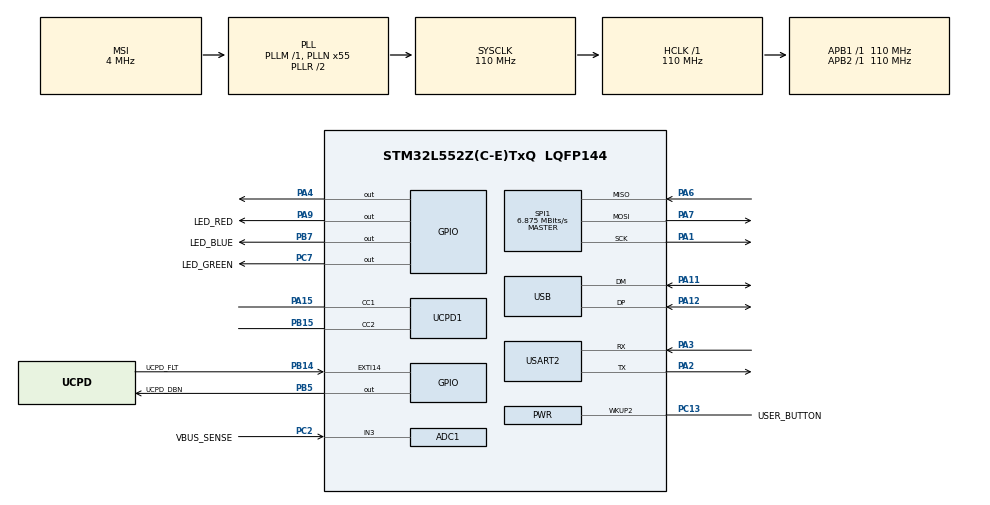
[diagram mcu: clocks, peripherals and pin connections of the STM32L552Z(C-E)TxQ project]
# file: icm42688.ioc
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ADC1.Channel-0\#ChannelRegularConversion=ADC_CHANNEL_3
ADC1.NbrOfConversionFlag=1
ADC1.OffsetNumber-0\#ChannelRegularConversion=ADC_OFFSET_NONE
ADC1.Rank-0\#ChannelRegularConversion=1
ADC1.SamplingTime-0\#ChannelRegularConversion=ADC_SAMPLETIME_2CYCLES_5
ADC1.master=1
Mcu.Family=STM32L5
Mcu.Name=STM32L552Z(C-E)TxQ
Mcu.Package=LQFP144
Mcu.TrustZone=disable
NVIC.PriorityGroup=NVIC_PRIORITYGROUP_3
PA1.Mode=Full_Duplex_Master
PA1.Signal=SPI1_SCK
PA11.Mode=Device
PA11.Signal=USB_DM
PA12.Mode=Device
PA12.Signal=USB_DP
PA13\ (JTMS/SWDIO).Mode=Trace_Asynchronous_SW
PA13\ (JTMS/SWDIO).Signal=DEBUG_JTMS-SWDIO
PA14\ (JTCK/SWCLK).Mode=Trace_Asynchronous_SW
PA14\ (JTCK/SWCLK).Signal=DEBUG_JTCK-SWCLK
PA15\ (JTDI).Mode=Source_AllSignals
PA15\ (JTDI).Signal=UCPD1_CC1
PA2.Mode=Asynchronous
PA2.Signal=USART2_TX
PA3.Mode=Asynchronous
PA3.Signal=USART2_RX
PA4.GPIO_ModeDefaultOutputPP=GPIO_MODE_OUTPUT_PP
PA4.GPIO_PuPd=GPIO_NOPULL
PA4.PinState=GPIO_PIN_SET
PA4.Signal=GPIO_Output
PA6.Mode=Full_Duplex_Master
PA6.Signal=SPI1_MISO
PA7.Mode=Full_Duplex_Master
PA7.Signal=SPI1_MOSI
PA9.GPIO_Label=LED_RED
PA9.Signal=GPIO_Output
PB14.GPIO_Label=UCPD_FLT
PB14.Signal=GPXTI14
PB15.Mode=Source_AllSignals
PB15.Signal=UCPD1_CC2
PB3\ (JTDO/TRACESWO).Mode=Trace_Asynchronous_SW
PB3\ (JTDO/TRACESWO).Signal=DEBUG_JTDO-SWO
PB5.GPIO_Label=UCPD_DBN
PB5.Signal=GPIO_Output
PB7.GPIO_Label=LED_BLUE
PB7.Signal=GPIO_Output
PC13.GPIO_Label=USER_BUTTON
PC13.Mode=WakeUp1
PC13.Signal=PWR_WKUP2
PC14-OSC32_IN\ (PC14).Mode=LSE-External-Oscillator
PC14-OSC32_IN\ (PC14).Signal=RCC_OSC32_IN
PC15-OSC32_OUT\ (PC15).Mode=LSE-External-Oscillator
PC15-OSC32_OUT\ (PC15).Signal=RCC_OSC32_OUT
PC2.GPIO_Label=VBUS_SENSE
PC2.Signal=ADCx_IN3
PC7.GPIO_Label=LED_GREEN
PC7.Signal=GPIO_Output
ProjectManager.HeapSize=0x200
ProjectManager.StackSize=0x400
ProjectManager.TargetToolchain=STM32CubeIDE
RCC.ADCCLockSelection=RCC_ADCCLKSOURCE_SYSCLK
RCC.ADCFreq_Value=110000000
RCC.AHBFreq_Value=110000000
RCC.APB1Freq_Value=110000000
RCC.APB1TimFreq_Value=110000000
RCC.APB2Freq_Value=110000000
RCC.APB2TimFreq_Value=110000000
RCC.CK48CLockSelection=RCC_USBCLKSOURCE_HSI48
RCC.CortexFreq_Value=110000000
RCC.HCLKFreq_Value=110000000
RCC.HSE_VALUE=8000000
RCC.HSI48_VALUE=48000000
RCC.HSI_VALUE=16000000
RCC.MSI_VALUE=4000000
RCC.PLLN=55
RCC.PLLSAI1N=24
RCC.RTCClockSelection=RCC_RTCCLKSOURCE_LSE
RCC.SYSCLKFreq_VALUE=110000000
RCC.SYSCLKSource=RCC_SYSCLKSOURCE_PLLCLK
RCC.USBFreq_Value=48000000
RCC.VCOOutputFreq_Value=220000000
SH.ADCx_IN3.0=ADC1_IN3,IN3-Single-Ended
SPI1.BaudRatePrescaler=SPI_BAUDRATEPRESCALER_16
SPI1.CLKPhase=SPI_PHASE_1EDGE
SPI1.CLKPolarity=SPI_POLARITY_LOW
SPI1.CalculateBaudRate=6.875 MBits/s
SPI1.DataSize=SPI_DATASIZE_8BIT
SPI1.Direction=SPI_DIRECTION_2LINES
SPI1.Mode=SPI_MODE_MASTER
SPI1.VirtualType=VM_MASTER
USART2.VirtualMode-Asynchronous=VM_ASYNC
VP_PWR_VS_DBSignals.Mode=DisableDeadBatterySignals
VP_PWR_VS_SECSignals.Mode=Security/Privilege
VP_RTC_VS_RTC_Activate.Mode=RTC_Enabled
board=NUCLEO-L552ZE-Q

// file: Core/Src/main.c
/* USER CODE BEGIN Header */
/**
  ******************************************************************************
  * @file           : main.c
  * @brief          : Main program body
  ******************************************************************************
  * @attention
  *
  * Copyright (c) 2024 STMicroelectronics.
  * All rights reserved.
  *
  * This software is licensed under terms that can be found in the LICENSE file
  * in the root directory of this software component.
  * If no LICENSE file comes with this software, it is provided AS-IS.
  *
  ******************************************************************************
  */
/* USER CODE END Header */
#include "main.h"
#include "adc.h"
#include "rtc.h"
#include "spi.h"
#include "ucpd.h"
#include "usart.h"
#include "usb.h"
#include "gpio.h"

/* USER CODE BEGIN Includes */
#include <stdio.h>
#include <string.h>
#include <stdbool.h>
#include <math.h>
#include <mahony_ahrs.h>

#define CS_PIN GPIO_PIN_4
#define CS_GPIO_PORT GPIOA
#define UB0_REG_WHO_AM_I 0x75
#define REG_BANK_SEL  0x76
#define UB0_REG_DEVICE_CONFIG  0x11
#define UB0_REG_PWR_MGMT0 0x4E
#define UB0_REG_TEMP_DATA1 0x1D

#define SAMPLE_PERIOD 0.0001

int begin();
int readRegisters(uint8_t subAddress, uint8_t count, uint8_t* dest);
void writeRegister(uint8_t subAddress, uint8_t data);
int setBank(uint8_t bank);
void setLowNoiseMode();
void reset();
uint8_t whoAmI();
void AGT(uint8_t *dataBuffer);
void setAccelFS(uint8_t fssel);

/* USER CODE END Includes */

/* USER CODE BEGIN PTD */
int readRegisters(uint8_t subAddress, uint8_t count, uint8_t* dest){

	uint8_t tx = subAddress | 0x80; //
	uint8_t dummy_tx[count]; //
	memset(dummy_tx, 0, count*sizeof(dummy_tx[0]));
	uint8_t dummy_rx;
	HAL_StatusTypeDef ret;

	HAL_GPIO_WritePin(CS_GPIO_PORT, CS_PIN, GPIO_PIN_RESET);

	ret = HAL_SPI_TransmitReceive(&hspi1, &tx, &dummy_rx, 1, HAL_MAX_DELAY);

	ret = HAL_SPI_TransmitReceive(&hspi1, dummy_tx, dest, count, HAL_MAX_DELAY);

	HAL_GPIO_WritePin(CS_GPIO_PORT, CS_PIN, GPIO_PIN_SET);

	return 1;
}

void writeRegister(uint8_t subAddress, uint8_t data){
	uint8_t tx_buf[2] = {subAddress, data};
	HAL_StatusTypeDef ret;

	HAL_GPIO_WritePin(CS_GPIO_PORT, CS_PIN, GPIO_PIN_RESET);
	ret = HAL_SPI_Transmit(&hspi1, tx_buf, 2, HAL_MAX_DELAY);
	HAL_GPIO_WritePin(CS_GPIO_PORT, CS_PIN, GPIO_PIN_SET);

//	readRegisters(subAddress, 1, &dummy_rx);
//
//	if(dummy_rx == data) {
//		return 1;
//	  }
//	  else{
//		return -1;
//	  }
//
//	return 1;
}

int begin(){
	HAL_GPIO_WritePin(CS_GPIO_PORT, CS_PIN, GPIO_PIN_SET);
	reset();
	uint8_t address = whoAmI();
	setLowNoiseMode();
	setAccelFS(0b01101001);
	configureNotchFilter();
	setAntiAliasFilter(213, true, true);
	calibrateGyro();
	return address;
}

int setBank(uint8_t bank){
	writeRegister(REG_BANK_SEL , bank);
	return 1;
}

void setLowNoiseMode(){
	writeRegister(UB0_REG_PWR_MGMT0, 0x0F);
}

void reset(){
	setBank(0);

	writeRegister(UB0_REG_DEVICE_CONFIG, 0x01);

	HAL_Delay(1);
}

uint8_t whoAmI(){
	uint8_t buffer;
	readRegisters(UB0_REG_WHO_AM_I, 1, &buffer);
	return buffer;
}

void AGT(uint8_t *dataBuffer){
	readRegisters(UB0_REG_TEMP_DATA1, 14, dataBuffer);
}

float _gyroScale = 0;
uint8_t current_fssel = 0;
uint8_t _gyroFS = 0;
float _gyroBD[3] = {0, 0, 0};
float _gyrB[3] = {0, 0, 0};
float _gyr[3] = {0, 0, 0};
uint8_t gyroBuffer[14];
int16_t rawMeasGyro[7];

void setGyroFS(uint8_t fssel){

	setBank(0);
	uint8_t reg;
	readRegisters(0x4F, 1, &reg);
	reg = (fssel << 5) | (reg & 0x1F);
	writeRegister(0x4F, reg);
	_gyroScale = (2000.0f / (float)(1 << fssel)) / 32768.0f;
	_gyroFS = fssel;
}

void calibrateGyro(){
	const uint8_t current_fssel = _gyroFS;
	setGyroFS(0x03);
	_gyroBD[0] = 0;
	_gyroBD[1] = 0;
	_gyroBD[2] = 0;
	for (size_t i=0; i < 1000; i++) {
		AGT(gyroBuffer);
		for (size_t i=0; i<7; i++) {
			rawMeasGyro[i] = ((int16_t)gyroBuffer[i*2] << 8) | gyroBuffer[i*2+1];
		}
		for (size_t i=0; i<3; i++) {
			_gyr[i] = (float)rawMeasGyro[i+4] / 16.4;
		}
		_gyroBD[0] += (_gyr[0] + _gyrB[0]) / 1000;
		_gyroBD[1] += (_gyr[1] + _gyrB[1]) / 1000;
		_gyroBD[2] += (_gyr[2] + _gyrB[2]) / 1000;
		HAL_Delay(1);
	}
	_gyrB[0] = _gyroBD[0];
	_gyrB[1] = _gyroBD[1];
	_gyrB[2] = _gyroBD[2];
	setGyroFS(current_fssel);
}
uint8_t _accelFS = 0;
float _accelScale = 0.0;
float _accBD[3] = {};
uint8_t accelBuffer[14];
float _acc[3] = {};
float _accS[3] = {1.0f, 1.0f, 1.0f};
float _accB[3] = {};
int16_t rawMeasAccel[7];
float _accMax[3] = {};
float _accMin[3] = {};

void setAccelFS(uint8_t fssel){
	setBank(0);
	uint8_t reg;
	readRegisters(0x50, 1, &reg);
	reg = (fssel << 5) | (reg & 0x1F);
	writeRegister(0x50, reg);
	_accelScale = (float)(1 << (4 - fssel)) / 32768.0f;
	_accelFS = fssel;
}

void configureNotchFilter(){
	uint8_t BW_SEL = 7;
	uint32_t f_des = 1300;
	double pi = 3.14159265;
	double COSWZ = cos(2 * pi * f_des / 32);
	int NF_COSWZ = 0;
	bool NF_COSWZ_SEL = 0;
	if(abs(COSWZ) <= 0.875){
		NF_COSWZ_SEL = 0;
		NF_COSWZ = round(COSWZ * 256);
	}else{
		NF_COSWZ_SEL = 1;
		if(COSWZ > 0.875){
			NF_COSWZ = round(8 * (1 - COSWZ) * 256);
		}else{
			NF_COSWZ = round(-8 * (1 + COSWZ) * 256);
		}
	}
	setBank(1);
	writeRegister(0x0F, (uint8_t)(NF_COSWZ & 0xFF));  // Lower byte for X-axis
	writeRegister(0x10, (uint8_t)(NF_COSWZ & 0xFF));  // Lower byte for Y-axis
	writeRegister(0x11, (uint8_t)(NF_COSWZ & 0xFF));  // Lower byte for Z-axis
	writeRegister(0x12, (uint8_t)((NF_COSWZ >> 8) & 0x01));  // Upper bit for all axes

	uint8_t reg_0x12;
	readRegisters(0x12, 1, &reg_0x12);
	// Modify only necessary bits (Bit 3 = X, Bit 4 = Y, Bit 5 = Z)
	reg_0x12 &= ~(0b00111000);  // Clear bits 3, 4, 5
	reg_0x12 |= (NF_COSWZ_SEL << 3) | (NF_COSWZ_SEL << 4) | (NF_COSWZ_SEL << 5);
	writeRegister(0x12, reg_0x12);

	// Set Notch Filter Bandwidth
	writeRegister(0x13, BW_SEL << 4);
//	writeRegister(0x0f, (uint8_t)(NF_COSWZ & 0xff));
//	writeRegister(0x12, NF_COSWZ_SEL << 3);
//
//	writeRegister(0x10, (uint8_t)(NF_COSWZ & 0xff));
//	writeRegister(0x12, NF_COSWZ_SEL << 4);
//
//	writeRegister(0x11, (uint8_t)(NF_COSWZ & 0xff));
//	writeRegister(0x12, NF_COSWZ_SEL << 5);
//
//	writeRegister(0x13, BW_SEL << 4);
//	writeRegister(0x0b, 0x00);

	setBank(0);
}

typedef struct {
    uint16_t bandwidth;   // 3dB Bandwidth (Hz)
    uint8_t delt;         // ACCEL_AAF_DELT / GYRO_AAF_DELT
    uint16_t deltsqr;     // ACCEL_AAF_DELTSQR / GYRO_AAF_DELTSQR
    uint8_t bitshift;     // ACCEL_AAF_BITSHIFT / GYRO_AAF_BITSHIFT
} AAF_Config;

static const AAF_Config aaf_table[] = {
    {42,   1,    1,   15}, {84,   2,    4,   13}, {126,  3,    9,   12},
    {170,  4,   16,   11}, {213,  5,   25,   10}, {258,  6,   36,   10},
    {303,  7,   49,    9}, {348,  8,   64,    9}, {394,  9,   81,    9},
    {441, 10,  100,    8}, {488, 11,  122,    8}, {536, 12,  144,    8},
    {585, 13,  170,    8}, {634, 14,  196,    7}, {684, 15,  224,    7},
    {734, 16,  256,    7}, {785, 17,  288,    7}, {837, 18,  324,    7},
    {890, 19,  360,    6}, {943, 20,  400,    6}, {997, 21,  440,    6},
    {1051,22,  488,    6}, {1107,23,  528,    6}, {1163,24,  576,    6},
    {1220,25,  624,    6}, {1277,26,  680,    6}, {1336,27,  736,    5},
    {1395,28,  784,    5}, {1454,29,  848,    5}, {1515,30,  896,    5},
    {1577,31,  960,    5}, {1639,32, 1024,    5}, {1702,33, 1088,    5},
    {1766,34, 1152,    5}, {1830,35, 1232,    5}, {1896,36, 1296,    5},
    {1962,37, 1376,    4}, {2029,38, 1440,    4}, {2097,39, 1536,    4},
    {2166,40, 1600,    4}, {2235,41, 1696,    4}, {2306,42, 1760,    4},
    {2377,43, 1856,    4}, {2449,44, 1952,    4}, {2522,45, 2016,    4},
    {2596,46, 2112,    4}, {2671,47, 2208,    4}, {2746,48, 2304,    4},
    {2823,49, 2400,    4}, {2900,50, 2496,    4}, {2978,51, 2592,    4},
    {3057,52, 2720,    4}, {3137,53, 2816,    3}, {3217,54, 2944,    3},
    {3299,55, 3008,    3}, {3381,56, 3136,    3}, {3464,57, 3264,    3},
    {3548,58, 3392,    3}, {3633,59, 3456,    3}, {3718,60, 3584,    3},
    {3805,61, 3712,    3}, {3892,62, 3840,    3}, {3979,63, 3968,    3}
};

static const AAF_Config *getAAFConfig(uint16_t bandwidth) {
    const AAF_Config *best = &aaf_table[0];
    for (size_t i = 0; i < sizeof(aaf_table)/sizeof(aaf_table[0]); i++) {
        if (aaf_table[i].bandwidth >= bandwidth) {
            best = &aaf_table[i];
            break;
        }
    }
    return best;
}

void setAntiAliasFilter(uint16_t bandwidth_hz, bool accel_enable, bool gyro_enable) {
    const AAF_Config *cfg = getAAFConfig(bandwidth_hz);

    // accel
    setBank(2);

    uint8_t reg03;
    readRegisters(0x03, 1, &reg03);
    reg03 &= ~0x7E;                         // Clear bits 6:1
    reg03 |= (cfg->delt & 0x3F) << 1;       // ACCEL_AAF_DELT
    if (!accel_enable)
        reg03 |= 1 << 0;                    // ACCEL_AAF_DIS = 1
    else
        reg03 &= ~(1 << 0);                 // Enable AAF
    writeRegister(0x03, reg03);

    writeRegister(0x04, (uint8_t)(cfg->deltsqr & 0xFF));  // Lower 8 bits of DELTSQR
    uint8_t reg05;
    readRegisters(0x05, 1, &reg05);
    reg05 &= 0x00;                          // Clear bits 7:0
    reg05 |= ((cfg->deltsqr >> 8) & 0x0F);  // Upper 4 bits of DELTSQR
    reg05 |= (cfg->bitshift << 4) & 0xF0;   // ACCEL_AAF_BITSHIFT
    writeRegister(0x05, reg05);

    // gyro
    setBank(1);

    uint8_t reg0C;
    readRegisters(0x0C, 1, &reg0C);
    reg0C &= ~0x3F;                        // Clear bits 5:0
    reg0C |= (cfg->delt & 0x3F);           // GYRO_AAF_DELT
    writeRegister(0x0C, reg0C);

    writeRegister(0x0D, (uint8_t)(cfg->deltsqr & 0xFF));  // Lower 8 bits
    uint8_t reg0E;
    readRegisters(0x0E, 1, &reg0E);
    reg0E &= 0x00;                         // Clear bits
    reg0E |= ((cfg->deltsqr >> 8) & 0x0F); // Upper 4 bits
    reg0E |= (cfg->bitshift << 4) & 0xF0;  // GYRO_AAF_BITSHIFT
    writeRegister(0x0E, reg0E);

    uint8_t reg0B;
    readRegisters(0x0B, 1, &reg0B);
    if (!gyro_enable)
        reg0B |= (1 << 1);                 // Disable Gyro AAF
    else
        reg0B &= ~(1 << 1);                // Enable Gyro AAF
    writeRegister(0x0B, reg0B);

    setBank(0);
}

float alpha = 0.1;  // Adjust filtering strength
float filtered_gyro_x = 0;  // Store previous value for X-axis
float filtered_gyro_y = 0;  // Store previous value for Y-axis
float filtered_gyro_z = 0;  // Store previous value for Z-axis

// Low-pass filter function
float lowPassFilter(float raw_value, int select) {
	if(select == 0){
		filtered_gyro_x = alpha * raw_value + (1 - alpha) * filtered_gyro_x;
		    return filtered_gyro_x;
	}
	if(select == 1){
		filtered_gyro_y = alpha * raw_value + (1 - alpha) * filtered_gyro_y;
		return filtered_gyro_y;
	}
	filtered_gyro_z = alpha * raw_value + (1 - alpha) * filtered_gyro_z;
	return filtered_gyro_z;

}

//
//
//
//void calibrateAccel(){
//	uint8_t current_fssel = _accelFS;
//	setAccelFS(0x03);
//	_accBD[0] = 0;
//	_accBD[1] = 0;
//	_accBD[2] = 0;
//	for (size_t i=0; i < 1000; i++) {
//	    AGT(accelBuffer);
//	    for (size_t i=0; i<7; i++) {
//	    	rawMeasAccel[i] = ((int16_t)accelBuffer[i*2] << 8) | accelBuffer[i*2+1];
//	    		}
//		for (size_t i=0; i<3; i++) {
//			_acc[i] = (float)rawMeasAccel[i+4] / 16.4;
//		}
//	    _accBD[0] += (_acc[0]/_accS[0] + _accB[0]) / 1000;
//	    _accBD[1] += (_acc[1]/_accS[1] + _accB[1]) / 1000;
//	    _accBD[2] += (_acc[2]/_accS[2] + _accB[2]) / 1000;
//	    HAL_Delay(1);
//	}
//	if (_accBD[0] > 0.9f) {
//		_accMax[0] = _accBD[0];
//	}
//	if (_accBD[1] > 0.9f) {
//		_accMax[1] = _accBD[1];
//	}
//	if (_accBD[2] > 0.9f) {
//		_accMax[2] = _accBD[2];
//	}
//	if (_accBD[0] < -0.9f) {
//		_accMin[0] = _accBD[0];
//	}
//	if (_accBD[1] < -0.9f) {
//		_accMin[1] = _accBD[1];
//	}
//	if (_accBD[2] < -0.9f) {
//		_accMin[2] = _accBD[2];
//	}
//	if ((abs(_accMin[0]) > 0.9f) && (abs(_accMax[0]) > 0.9f)) {
//		_accB[0] = (_accMin[0] + _accMax[0]) / 2.0f;
//		_accS[0] = 1/((abs(_accMin[0]) + abs(_accMax[0])) / 2.0f);
//	}
//	if ((abs(_accMin[1]) > 0.9f) && (abs(_accMax[1]) > 0.9f)) {
//		_accB[1] = (_accMin[1] + _accMax[1]) / 2.0f;
//		_accS[1] = 1/((abs(_accMin[1]) + abs(_accMax[1])) / 2.0f);
//	}
//	if ((abs(_accMin[2]) > 0.9f) && (abs(_accMax[2]) > 0.9f)) {
//		_accB[2] = (_accMin[2] + _accMax[2]) / 2.0f;
//		_accS[2] = 1/((abs(_accMin[2]) + abs(_accMax[2])) / 2.0f);
//	}
//	setAccelFS(current_fssel);
//
//}

/* USER CODE END PTD */

/* USER CODE BEGIN PV */
  uint8_t myBuffer[14];
  int16_t rawMeas[7];
  double accel[4]; // x,y,z,magnitude
  double gyro[3];
//  FusionEuler euler;
  double roll = 0.0;
  double pitch = 0.0;
  double yaw = 0.0;

  float test_roll = 0.0f;
  float test_pitch = 0.0f;
  float test_yaw = 0.0f;

  float ax = 0.0f;
  float ay = 0.0f;
  float az = 0.0f;
  float gx = 0.0f;
  float gy = 0.0f;
  float gz = 0.0f;

/* USER CODE END PV */

void SystemClock_Config(void);

/* USER CODE BEGIN 0 */
int _write(int le, char *ptr, int len)

{

int DataIdx;

for(DataIdx = 0; DataIdx < len; DataIdx++)

{

ITM_SendChar(*ptr++);

}

return len;

}
//
//#define TWO_KP  (2.0f * 0.5f)   // 2 * proportional gain
//#define TWO_KI  (2.0f * 0.0f)   // 2 * integral gain (0 to disable)
//
//// Quaternion state
//static float q0 = 1.0f, q1 = 0.0f, q2 = 0.0f, q3 = 0.0f;
//static float integralFBx = 0.0f, integralFBy = 0.0f, integralFBz = 0.0f;
//
//void GetEulerAngles(float *roll, float *pitch, float *yaw)
//{
//    *roll  = atan2f(2.0f*(q0*q1 + q2*q3), 1.0f - 2.0f*(q1*q1 + q2*q2)) * 57.2958f;
//    *pitch = asinf (2.0f*(q0*q2 - q3*q1)) * 57.2958f;
//    *yaw   = atan2f(2.0f*(q0*q3 + q1*q2), 1.0f - 2.0f*(q2*q2 + q3*q3)) * 57.2958f;
//}
//
//void MahonyAHRSupdate(
//		float gx,
//		float gy,
//		float gz,
//		float ax,
//		float ay,
//		float az,
//        float dt
//)
//{
//    float recipNorm;
//    float halfvx, halfvy, halfvz;
//    float halfex, halfey, halfez;
//    float qa, qb, qc;
//
//    // Normalize accelerometer
//    recipNorm = 1.0f / sqrtf(ax * ax + ay * ay + az * az);
//    ax *= recipNorm;
//    ay *= recipNorm;
//    az *= recipNorm;
//
//    // Estimated gravity direction
//    halfvx = q1 * q3 - q0 * q2;
//    halfvy = q0 * q1 + q2 * q3;
//    halfvz = q0 * q0 - 0.5f + q3 * q3;
//
//    // Error = cross product (measured vs estimated gravity)
//    halfex = (ay * halfvz - az * halfvy);
//    halfey = (az * halfvx - ax * halfvz);
//    halfez = (ax * halfvy - ay * halfvx);
//
//    // Integral feedback
//    if (TWO_KI > 0.0f) {
//        integralFBx += TWO_KI * halfex * dt;
//        integralFBy += TWO_KI * halfey * dt;
//        integralFBz += TWO_KI * halfez * dt;
//        gx += integralFBx;
//        gy += integralFBy;
//        gz += integralFBz;
//    }
//
//    // Proportional feedback
//    gx += TWO_KP * halfex;
//    gy += TWO_KP * halfey;
//    gz += TWO_KP * halfez;
//
//    // Integrate quaternion rate
//    gx *= (0.5f * dt);
//    gy *= (0.5f * dt);
//    gz *= (0.5f * dt);
//    qa = q0;
//    qb = q1;
//    qc = q2;
//    q0 += (-qb * gx - qc * gy - q3 * gz);
//    q1 += (qa * gx + qc * gz - q3 * gy);
//    q2 += (qa * gy - qb * gz + q3 * gx);
//    q3 += (qa * gz + qb * gy - qc * gx);
//
//    // Normalize quaternion
//    recipNorm = 1.0f / sqrtf(q0*q0 + q1*q1 + q2*q2 + q3*q3);
//    q0 *= recipNorm;
//    q1 *= recipNorm;
//    q2 *= recipNorm;
//    q3 *= recipNorm;
//}

// Quaternion state (global)
static float q0 = 1.0f, q1 = 0.0f, q2 = 0.0f, q3 = 0.0f;

// Mahony filter gains
#define TWO_KP (2.0f * 0.5f)   // proportional gain
#define TWO_KI (2.0f * 0.1f)   // integral gain

// Integral error terms
static float integralFBx = 0.0f, integralFBy = 0.0f, integralFBz = 0.0f;

void MahonyAHRSupdate(float gx, float gy, float gz,
                      float ax, float ay, float az,
                      float dt) {
    float recipNorm;
    float halfvx, halfvy, halfvz;
    float halfex, halfey, halfez;

    // Normalize accelerometer
    recipNorm = sqrtf(ax * ax + ay * ay + az * az);
    if (recipNorm > 1e-6f) {
        ax /= recipNorm;
        ay /= recipNorm;
        az /= recipNorm;
    } else {
        return;
    }

    // Estimated direction of gravity
    halfvx = q1 * q3 - q0 * q2;
    halfvy = q0 * q1 + q2 * q3;
    halfvz = q0 * q0 - 0.5f + q3 * q3;

    // Error is cross product between estimated and measured direction of gravity
    halfex = (ay * halfvz - az * halfvy);
    halfey = (az * halfvx - ax * halfvz);
    halfez = (ax * halfvy - ay * halfvx);

    // Integral feedback
    if (TWO_KI > 0.0f) {
        integralFBx += TWO_KI * halfex * dt;
        integralFBy += TWO_KI * halfey * dt;
        integralFBz += TWO_KI * halfez * dt;
        gx += integralFBx;
        gy += integralFBy;
        gz += integralFBz;
    }

    // Proportional feedback
    gx += TWO_KP * halfex;
    gy += TWO_KP * halfey;
    gz += TWO_KP * halfez;

    // Integrate rate of change of quaternion
    gx *= 0.5f * dt;
    gy *= 0.5f * dt;
    gz *= 0.5f * dt;

    float qa = q0;
    float qb = q1;
    float qc = q2;

    q0 += (-qb * gx - qc * gy - q3 * gz);
    q1 += (qa * gx + qc * gz - q3 * gy);
    q2 += (qa * gy - qb * gz + q3 * gx);
    q3 += (qa * gz + qb * gy - qc * gx);

    // Normalize quaternion
    recipNorm = 1.0f / sqrtf(q0 * q0 + q1 * q1 + q2 * q2 + q3 * q3);
    q0 *= recipNorm;
    q1 *= recipNorm;
    q2 *= recipNorm;
    q3 *= recipNorm;
}

// Convert quaternion to Euler angles (NED frame) with doubles
void GetEulerAngles(double *roll, double *pitch, double *yaw) {
    // Roll (x-axis = East)
    *roll  = atan2((double)(2.0f * (q0 * q1 + q2 * q3)),
                   (double)(1.0f - 2.0f * (q1 * q1 + q2 * q2)));

    // Pitch (y-axis = North)
    *pitch = asin((double)(2.0f * (q0 * q2 - q3 * q1)));

    // Yaw (z-axis = Down)
    *yaw   = atan2((double)(2.0f * (q0 * q3 + q1 * q2)),
                   (double)(1.0f - 2.0f * (q2 * q2 + q3 * q3)));

    // Convert to degrees
    *roll  *= 180.0 / M_PI;
    *pitch *= 180.0 / M_PI;
    *yaw   *= 180.0 / M_PI;
}

/* USER CODE END 0 */

int main(void)
{

  /* MCU Configuration--------------------------------------------------------*/

  /* Reset of all peripherals, Initializes the Flash interface and the Systick. */
  HAL_Init();

  /* USER CODE BEGIN Init */
//  	FusionAhrs ahrs;
//  	FusionAhrsInitialise(&ahrs);
  /* USER CODE END Init */

  /* Configure the system clock */
  SystemClock_Config();

  /* Initialize all configured peripherals */
  MX_GPIO_Init();
  MX_ADC1_Init();
  MX_RTC_Init();
  MX_UCPD1_Init();
  MX_USB_PCD_Init();
  MX_SPI1_Init();
  MX_USART2_UART_Init();
  /* USER CODE BEGIN 2 */
  uint8_t address = begin();
  printf("Gyro X: %.2f, Y: %.2f, Z: %.2f\r\n", gyro[0], gyro[1], gyro[2]);

  uint8_t new_buffer[1];
  uint8_t new_buffer_accel[1];

  int sample = readRegisters(0x4F, 1, new_buffer);
  int sample_accel = readRegisters(0x50, 1, new_buffer_accel);

  Mahony ahrs;
  Mahony_init(&ahrs);

  // writeRegister(0x4F, (sample & 0xF0) | 0x0B);	// Increase Gyro ODR to 2000Hz
  /* USER CODE END 2 */

  /* Infinite loop */
  /* USER CODE BEGIN WHILE */
  while (1)
  {
	  AGT(myBuffer);
	  for (size_t i=0; i<7; i++) {
	      rawMeas[i] = ((int16_t)myBuffer[i*2] << 8) | myBuffer[i*2+1];
	   }
	  int16_t temperature = rawMeas[0] / 132.48f + 25;
	  for (size_t i=0; i<3; i++) {
		  accel[i] = (float)rawMeas[i+1] / 2048.0 * 9.81 / 2.0;
	  }

	  accel[3] = pow(((accel[0]*accel[0]) + (accel[1]*accel[1]) + (accel[2]*accel[2])), 0.5);

	  for (size_t i=0; i<3; i++) {
		  gyro[i] = lowPassFilter((float)rawMeas[i+4] / 16.4, i);
	  }

	      // Convert to physical units
	  	  // ENU
//	      ax = (float)accel[0];                    // g
//	      ay = (float)accel[1];
//	      az = (float)-accel[2];
//	      gx = ((float)-gyro[0]);        // rad/s
//	      gy = ((float)-gyro[1]);
//	      gz = ((float)gyro[2]);

	      // NED
	      ax = (float)accel[1];                    // g
		  ay = (float)accel[0];
		  az = ((float)accel[2]);
		  gx = ((float)-gyro[1]);        // rad/s
		  gy = ((float)-gyro[0]);
		  gz = ((float)-gyro[2]);

	      Mahony_updateIMU(&ahrs, gx, gy, gz, ax, ay, az);

	      test_roll = ahrs.roll;
	      test_pitch = ahrs.pitch;
	      test_yaw = ahrs.yaw;

	      // Update Mahony filter (dt matches loop rate)
	      MahonyAHRSupdate(gx, gy, gz, ax, ay, az, 0.05f); // East North Down for some reason??

	      printf("Roll: %.2f  Pitch: %.2f  Yaw: %.2f\r\n", test_roll, test_pitch, test_yaw);
	      // Get Euler angles

	      GetEulerAngles(&roll, &pitch, &yaw);

	      printf("Roll: %.2f  Pitch: %.2f  Yaw: %.2f\r\n", roll, pitch, yaw);

	      HAL_Delay(50);   // 50 ms loop → dt = 0.05

//	  const FusionVector gyroscope = {gyro[2], gyro[0], gyro[1]}; // replace this with actual gyroscope data in degrees/s
//	  const FusionVector accelerometer = {accel[2], accel[0], accel[1]}; // replace this with actual accelerometer data in g
//
//	  FusionAhrsUpdateNoMagnetometer(&ahrs, gyroscope, accelerometer, SAMPLE_PERIOD);
//
//	  const FusionEuler euler = FusionQuaternionToEuler(FusionAhrsGetQuaternion(&ahrs));
//	  roll = euler.angle.roll;
//	  pitch = euler.angle.pitch;
//	  yaw = euler.angle.yaw;

    /* USER CODE END WHILE */

  }
}

void SystemClock_Config(void)
{
  RCC_OscInitTypeDef RCC_OscInitStruct = {0};
  RCC_ClkInitTypeDef RCC_ClkInitStruct = {0};

  /** Configure the main internal regulator output voltage
  */
  if (HAL_PWREx_ControlVoltageScaling(PWR_REGULATOR_VOLTAGE_SCALE0) != HAL_OK)
  {
    Error_Handler();
  }

  /** Configure LSE Drive Capability
  */
  HAL_PWR_EnableBkUpAccess();
  __HAL_RCC_LSEDRIVE_CONFIG(RCC_LSEDRIVE_LOW);

  /** Initializes the RCC Oscillators according to the specified parameters
  * in the RCC_OscInitTypeDef structure.
  */
  RCC_OscInitStruct.OscillatorType = RCC_OSCILLATORTYPE_HSI48|RCC_OSCILLATORTYPE_HSI
                              |RCC_OSCILLATORTYPE_LSE|RCC_OSCILLATORTYPE_MSI;
  RCC_OscInitStruct.LSEState = RCC_LSE_ON;
  RCC_OscInitStruct.HSIState = RCC_HSI_ON;
  RCC_OscInitStruct.HSI48State = RCC_HSI48_ON;
  RCC_OscInitStruct.HSICalibrationValue = RCC_HSICALIBRATION_DEFAULT;
  RCC_OscInitStruct.MSIState = RCC_MSI_ON;
  RCC_OscInitStruct.MSICalibrationValue = RCC_MSICALIBRATION_DEFAULT;
  RCC_OscInitStruct.MSIClockRange = RCC_MSIRANGE_6;
  RCC_OscInitStruct.PLL.PLLState = RCC_PLL_ON;
  RCC_OscInitStruct.PLL.PLLSource = RCC_PLLSOURCE_MSI;
  RCC_OscInitStruct.PLL.PLLM = 1;
  RCC_OscInitStruct.PLL.PLLN = 55;
  RCC_OscInitStruct.PLL.PLLP = RCC_PLLP_DIV7;
  RCC_OscInitStruct.PLL.PLLQ = RCC_PLLQ_DIV2;
  RCC_OscInitStruct.PLL.PLLR = RCC_PLLR_DIV2;
  if (HAL_RCC_OscConfig(&RCC_OscInitStruct) != HAL_OK)
  {
    Error_Handler();
  }

  /** Initializes the CPU, AHB and APB buses clocks
  */
  RCC_ClkInitStruct.ClockType = RCC_CLOCKTYPE_HCLK|RCC_CLOCKTYPE_SYSCLK
                              |RCC_CLOCKTYPE_PCLK1|RCC_CLOCKTYPE_PCLK2;
  RCC_ClkInitStruct.SYSCLKSource = RCC_SYSCLKSOURCE_PLLCLK;
  RCC_ClkInitStruct.AHBCLKDivider = RCC_SYSCLK_DIV1;
  RCC_ClkInitStruct.APB1CLKDivider = RCC_HCLK_DIV1;
  RCC_ClkInitStruct.APB2CLKDivider = RCC_HCLK_DIV1;

  if (HAL_RCC_ClockConfig(&RCC_ClkInitStruct, FLASH_LATENCY_5) != HAL_OK)
  {
    Error_Handler();
  }
}

void Error_Handler(void)
{
  __disable_irq();
  while (1)
  {
  }
}
